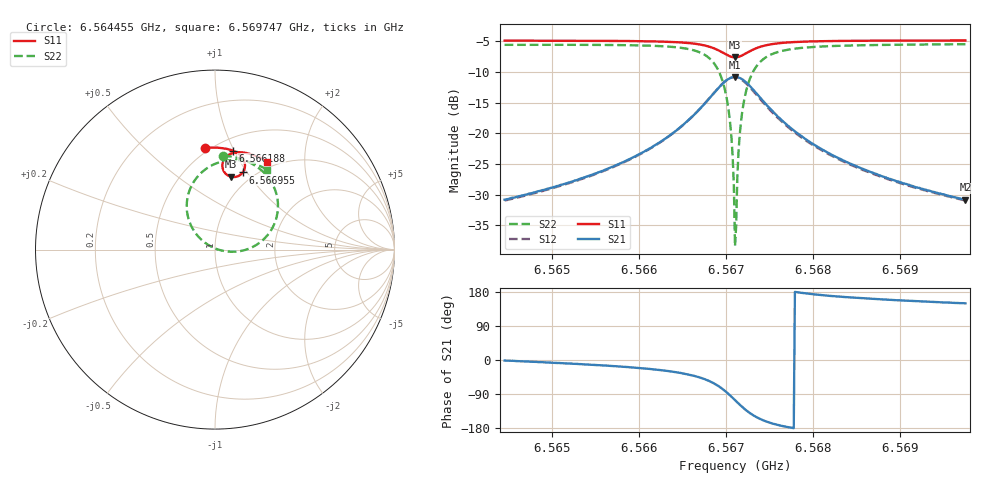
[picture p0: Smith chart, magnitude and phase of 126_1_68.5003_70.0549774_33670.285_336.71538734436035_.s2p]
#  HZ  S  RI  R  50.00
! Rohde & Schwarz Vector Network Analyzer
! Rohde-Schwarz,ZNB20-2Port,1311601062101988,3.16
! Created: UTC 3/20/2024, 5:09:18 PM
! freq[Hz]  re:S11  im:S11  re:S21  im:S21  re:S12  im:S12  re:S22  im:S22
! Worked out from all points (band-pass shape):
!   401 points, 6.564455 GHz to 6.569747 GHz, reference 50 ohm
!   highest |S21| = -10.80 dB at 6.567101 GHz (marker M1); lowest = -30.8 dB at 6.569747 GHz (marker M2)
!   |S21| within 3 dB of the highest: 6.566837 GHz to 6.567366 GHz (528.1 kHz wide, 0.00804 % of centre)
!   lowest |S11| = -7.6 dB at 6.567101 GHz (marker M3), VSWR 2.42, Z = 41.7 + j40.9 ohm
!   |S11| at or under -10 dB: nowhere
!   |S22| runs from -38.4 to -5.5 dB; largest |S21 - S12| = 0.014
!   S11 on the Smith chart (normalised r, x): 6.564455 GHz: 0.47, +0.79; 6.566188 GHz: 0.61, +0.99; 6.566955 GHz: 0.88, +0.95; 6.569747 GHz: 0.91, +1.32
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6.5644547e9  -0.0553 0.5664  0.0288 -0.00075  0.0283 -0.00123  0.0448 0.5238
6.5653412e9  0.0177 0.5676  0.0423 -0.00837  0.0415 -0.00875  0.1298 0.5096
6.5661879e9  0.0977 0.5519  0.0728 -0.0342  0.0716 -0.0351  0.2433 0.4547
6.5662276e9  0.102 0.5503  0.0751 -0.0369  0.0739 -0.0379  0.2503 0.449
6.5665319e9  0.1377 0.529  0.0976 -0.0725  0.0961 -0.074  0.3123 0.379
6.5667436e9  0.1621 0.4955  0.1107 -0.131  0.1081 -0.1337  0.35 0.2663
6.5668627e9  0.1668 0.4622  0.0999 -0.1892  0.095 -0.1928  0.3354 0.1553
6.5669553e9  0.1543 0.4296  0.061 -0.245  0.0525 -0.2477  0.2647 0.0514
6.5670347e9  0.1247 0.4077  -0.00654 -0.2794  -0.0184 -0.2788  0.1405 -0.00842
6.5670611e9  0.1113 0.4046  -0.035 -0.2828  -0.0474 -0.2802  0.0894 -0.0121
6.5670876e9  0.0973 0.4045  -0.0643 -0.2806  -0.0766 -0.2758  0.0372 -0.00519
6.5671008e9  0.0905 0.4056  -0.0787 -0.2774  -0.0909 -0.2714  0.0118 0.00217
6.567114e9  0.0836 0.4075  -0.0929 -0.2727  -0.1045 -0.2656  -0.0126 0.0122
6.5671273e9  0.077 0.4102  -0.1063 -0.2665  -0.1174 -0.2586  -0.0356 0.0248
6.5671537e9  0.0654 0.4174  -0.1309 -0.2507  -0.1404 -0.2411  -0.0764 0.0557
6.5671934e9  0.0518 0.4322  -0.1596 -0.221  -0.1663 -0.2095  -0.122 0.1122
6.5672331e9  0.044 0.4488  -0.1776 -0.1877  -0.1815 -0.1759  -0.148 0.1728
6.5672993e9  0.0416 0.4758  -0.1876 -0.135  -0.1878 -0.1244  -0.1565 0.2656
6.5675506e9  0.0799 0.5301  -0.1439 -0.0282  -0.1406 -0.0238  -0.0556 0.4457
6.5679872e9  0.143 0.5424  -0.0821 0.0089  -0.0802 0.0101  0.0827 0.4978
6.5688737e9  0.2267 0.5221  -0.0397 0.0153  -0.0388 0.0156  0.2133 0.4806
6.5697469e9  0.2916 0.4908  -0.0247 0.0146  -0.0243 0.0147  0.2909 0.4453
